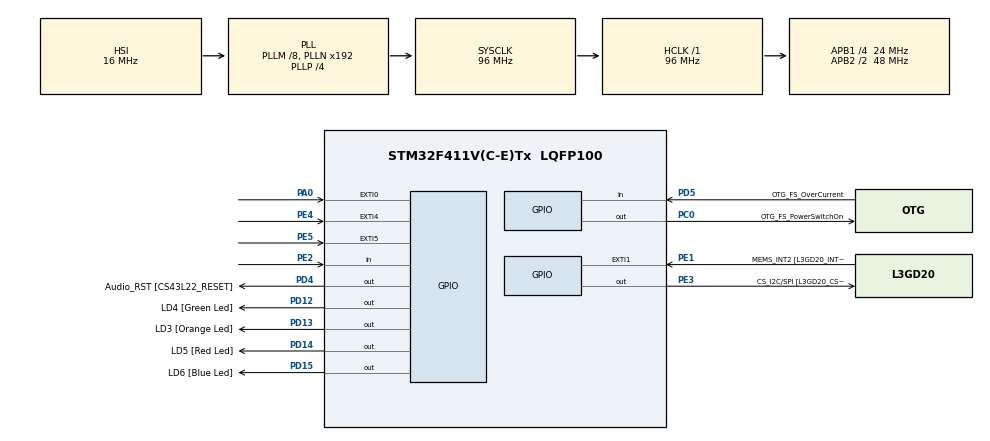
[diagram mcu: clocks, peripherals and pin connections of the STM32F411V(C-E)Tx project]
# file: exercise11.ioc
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FREERTOS.BinarySemaphores01=myBinarySem01,Dynamic,NULL
FREERTOS.Mutexes01=myMutex01,Dynamic,NULL
FREERTOS.Tasks01=RedLED,2,128,StarRedLED,Default,NULL,Dynamic,NULL,NULL;GreenLED,0,128,StartGreenLED,Default,NULL,Dynamic,NULL,NULL;OrangeLED,1,128,StartOrangeLED,Default,NULL,Dynamic,NULL,NULL
Mcu.Family=STM32F4
Mcu.Name=STM32F411V(C-E)Tx
Mcu.Package=LQFP100
NVIC.PriorityGroup=NVIC_PRIORITYGROUP_4
NVIC.TIM1_UP_TIM10_IRQn=true\:0\:0\:false\:false\:true\:false\:false\:true
NVIC.TimeBase=TIM1_UP_TIM10_IRQn
NVIC.TimeBaseIP=TIM1
PA0-WKUP.GPIO_ModeDefaultEXTI=GPIO_MODE_EVT_RISING
PA0-WKUP.Signal=GPXTI0
PA10.GPIO_Label=OTG_FS_ID
PA10.Signal=USB_OTG_FS_ID
PA11.GPIO_Label=OTG_FS_DM
PA11.Signal=USB_OTG_FS_DM
PA12.GPIO_Label=OTG_FS_DP
PA12.Signal=USB_OTG_FS_DP
PA13.GPIO_Label=SWDIO
PA13.Signal=SYS_JTMS-SWDIO
PA14.GPIO_Label=SWCLK
PA14.Signal=SYS_JTCK-SWCLK
PA4.GPIO_Label=I2S3_WS [CS43L22_LRCK]
PA4.GPIO_Mode=GPIO_MODE_AF_PP
PA4.GPIO_PuPd=GPIO_NOPULL
PA4.GPIO_Speed=GPIO_SPEED_FREQ_LOW
PA4.Signal=I2S3_WS
PA5.GPIO_Label=SPI1_SCK [L3GD20_SC/SPC]
PA5.Signal=SPI1_SCK
PA6.GPIO_Label=SPI1_MISO [L3GD20_AS0/SDO]
PA6.Signal=SPI1_MISO
PA7.GPIO_Label=SPI1_MOSI [L3GD20_SDA/SDI/SDO]
PA7.Signal=SPI1_MOSI
PA9.GPIO_Label=VBUS_FS
PA9.Signal=USB_OTG_FS_VBUS
PB10.GPIO_Label=CLK_IN [MP45DT02_CLK]
PB10.Signal=I2S2_CK
PB12.Signal=I2S2_WS
PB3.GPIO_Label=SWO
PB3.Signal=SYS_JTDO-SWO
PB6.GPIO_Label=Audio_SCL [CS43L22_SCL]
PB6.GPIO_Mode=GPIO_MODE_AF_OD
PB6.GPIO_PuPd=GPIO_NOPULL
PB6.GPIO_Speed=GPIO_SPEED_FREQ_LOW
PB6.Signal=I2C1_SCL
PB9.GPIO_Label=Audio_SDA [CS43L22_SDA]
PB9.GPIO_Mode=GPIO_MODE_AF_OD
PB9.GPIO_PuPd=GPIO_NOPULL
PB9.GPIO_Speed=GPIO_SPEED_FREQ_LOW
PB9.Signal=I2C1_SDA
PC0.GPIO_Label=OTG_FS_PowerSwitchOn
PC0.PinState=GPIO_PIN_SET
PC0.Signal=GPIO_Output
PC10.GPIO_Label=I2S3_SCK [CS43L22_SCLK]
PC10.GPIO_Mode=GPIO_MODE_AF_PP
PC10.GPIO_PuPd=GPIO_NOPULL
PC10.GPIO_Speed=GPIO_SPEED_FREQ_LOW
PC10.Signal=I2S3_CK
PC12.GPIO_Label=I2S3_SD [CS43L22_SDIN]
PC12.GPIO_Mode=GPIO_MODE_AF_PP
PC12.GPIO_PuPd=GPIO_NOPULL
PC12.GPIO_Speed=GPIO_SPEED_FREQ_LOW
PC12.Signal=I2S3_SD
PC14-OSC32_IN.GPIO_Label=PC14-OSC32_IN
PC14-OSC32_IN.Signal=RCC_OSC32_IN
PC15-OSC32_OUT.GPIO_Label=PC15-OSC32_OUT
PC15-OSC32_OUT.Signal=RCC_OSC32_OUT
PC3.GPIO_Label=PDM_OUT [MP45DT02_DOUT]
PC3.Signal=I2S2_SD
PC7.GPIO_Label=I2S3_MCK [CS43L22_MCLK]
PC7.GPIO_Mode=GPIO_MODE_AF_PP
PC7.GPIO_PuPd=GPIO_NOPULL
PC7.GPIO_Speed=GPIO_SPEED_FREQ_LOW
PC7.Signal=I2S3_MCK
PD12.GPIO_Label=LD4 [Green Led]
PD12.GPIO_PuPd=GPIO_NOPULL
PD12.GPIO_Speed=GPIO_SPEED_FREQ_LOW
PD12.Signal=GPIO_Output
PD13.GPIO_Label=LD3 [Orange Led]
PD13.GPIO_PuPd=GPIO_NOPULL
PD13.GPIO_Speed=GPIO_SPEED_FREQ_LOW
PD13.Signal=GPIO_Output
PD14.GPIO_Label=LD5 [Red Led]
PD14.GPIO_PuPd=GPIO_NOPULL
PD14.GPIO_Speed=GPIO_SPEED_FREQ_LOW
PD14.Signal=GPIO_Output
PD15.GPIO_Label=LD6 [Blue Led]
PD15.GPIO_PuPd=GPIO_NOPULL
PD15.GPIO_Speed=GPIO_SPEED_FREQ_LOW
PD15.Signal=GPIO_Output
PD4.GPIO_Label=Audio_RST [CS43L22_RESET]
PD4.Signal=GPIO_Output
PD5.GPIO_Label=OTG_FS_OverCurrent
PD5.Signal=GPIO_Input
PE1.GPIO_Label=MEMS_INT2 [L3GD20_INT2]
PE1.GPIO_ModeDefaultEXTI=GPIO_MODE_EVT_RISING
PE1.Signal=GPXTI1
PE2.Signal=GPIO_Input
PE3.GPIO_Label=CS_I2C/SPI [L3GD20_CS_I2C/SPI]
PE3.Signal=GPIO_Output
PE4.GPIO_ModeDefaultEXTI=GPIO_MODE_EVT_RISING
PE4.Signal=GPXTI4
PE5.GPIO_ModeDefaultEXTI=GPIO_MODE_EVT_RISING
PE5.Signal=GPXTI5
PH0\ -\ OSC_IN.GPIO_Label=PH0-OSC_IN
PH0\ -\ OSC_IN.Signal=RCC_OSC_IN
PH1\ -\ OSC_OUT.GPIO_Label=PH1-OSC_OUT
PH1\ -\ OSC_OUT.Signal=RCC_OSC_OUT
ProjectManager.HeapSize=0x200
ProjectManager.StackSize=0x400
ProjectManager.TargetToolchain=STM32CubeIDE
RCC.48MHZClocksFreq_Value=48000000
RCC.AHBFreq_Value=96000000
RCC.APB1CLKDivider=RCC_HCLK_DIV4
RCC.APB1Freq_Value=24000000
RCC.APB1TimFreq_Value=48000000
RCC.APB2CLKDivider=RCC_HCLK_DIV2
RCC.APB2Freq_Value=48000000
RCC.APB2TimFreq_Value=96000000
RCC.CortexFreq_Value=96000000
RCC.HCLKFreq_Value=96000000
RCC.HSE_VALUE=8000000
RCC.HSI_VALUE=16000000
RCC.LSE_VALUE=32768
RCC.PLLI2SM=5
RCC.PLLI2SN=200
RCC.PLLM=8
RCC.PLLP=RCC_PLLP_DIV4
RCC.PLLQ=8
RCC.SYSCLKFreq_VALUE=96000000
RCC.SYSCLKSource=RCC_SYSCLKSOURCE_PLLCLK
RCC.VCOOutputFreq_Value=384000000
VP_FREERTOS_VS_CMSIS_V1.Mode=CMSIS_V1
VP_SYS_VS_tim1.Mode=TIM1
board=STM32F411E-DISCO

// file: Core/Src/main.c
/* USER CODE BEGIN Header */
/**
  ******************************************************************************
  * @file           : main.c
  * @brief          : Main program body
  ******************************************************************************
  * @attention
  *
  * <h2><center>&copy; Copyright (c) 2021 STMicroelectronics.
  * All rights reserved.</center></h2>
  *
  * This software component is licensed by ST under BSD 3-Clause license,
  * the "License"; You may not use this file except in compliance with the
  * License. You may obtain a copy of the License at:
  *                        opensource.org/licenses/BSD-3-Clause
  *
  ******************************************************************************
  */
/* USER CODE END Header */

#include "main.h"
#include "cmsis_os.h"

osThreadId RedLEDHandle;
osThreadId GreenLEDHandle;
osThreadId OrangeLEDHandle;
osMutexId myMutex01Handle;
osSemaphoreId myBinarySem01Handle;

void SystemClock_Config(void);
static void MX_GPIO_Init(void);
void StarRedLED(void const * argument);
void StartGreenLED(void const * argument);
void StartOrangeLED(void const * argument);

int main(void)
{

  /* MCU Configuration--------------------------------------------------------*/

  /* Reset of all peripherals, Initializes the Flash interface and the Systick. */
  HAL_Init();

  /* Configure the system clock */
  SystemClock_Config();

  /* Initialize all configured peripherals */
  MX_GPIO_Init();

  /* Create the mutex(es) */
  /* definition and creation of myMutex01 */
  osMutexDef(myMutex01);
  myMutex01Handle = osMutexCreate(osMutex(myMutex01));

  /* Create the semaphores(s) */
  /* definition and creation of myBinarySem01 */
  osSemaphoreDef(myBinarySem01);
  myBinarySem01Handle = osSemaphoreCreate(osSemaphore(myBinarySem01), 1);

  /* Create the thread(s) */
  /* definition and creation of RedLED */
  osThreadDef(RedLED, StarRedLED, osPriorityHigh, 0, 128);
  RedLEDHandle = osThreadCreate(osThread(RedLED), NULL);

  /* definition and creation of GreenLED */
  osThreadDef(GreenLED, StartGreenLED, osPriorityNormal, 0, 128);
  GreenLEDHandle = osThreadCreate(osThread(GreenLED), NULL);

  /* definition and creation of OrangeLED */
  osThreadDef(OrangeLED, StartOrangeLED, osPriorityAboveNormal, 0, 128);
  OrangeLEDHandle = osThreadCreate(osThread(OrangeLED), NULL);

  /* Start scheduler */
  osKernelStart();

  /* We should never get here as control is now taken by the scheduler */

  /* Infinite loop */
  while (1)
  {

  }
}

void SystemClock_Config(void)
{
  RCC_OscInitTypeDef RCC_OscInitStruct = {0};
  RCC_ClkInitTypeDef RCC_ClkInitStruct = {0};

  /** Configure the main internal regulator output voltage
  */
  __HAL_RCC_PWR_CLK_ENABLE();
  __HAL_PWR_VOLTAGESCALING_CONFIG(PWR_REGULATOR_VOLTAGE_SCALE1);
  /** Initializes the CPU, AHB and APB busses clocks
  */
  RCC_OscInitStruct.OscillatorType = RCC_OSCILLATORTYPE_HSI;
  RCC_OscInitStruct.HSIState = RCC_HSI_ON;
  RCC_OscInitStruct.HSICalibrationValue = RCC_HSICALIBRATION_DEFAULT;
  RCC_OscInitStruct.PLL.PLLState = RCC_PLL_ON;
  RCC_OscInitStruct.PLL.PLLSource = RCC_PLLSOURCE_HSI;
  RCC_OscInitStruct.PLL.PLLM = 8;
  RCC_OscInitStruct.PLL.PLLN = 192;
  RCC_OscInitStruct.PLL.PLLP = RCC_PLLP_DIV4;
  RCC_OscInitStruct.PLL.PLLQ = 8;
  if (HAL_RCC_OscConfig(&RCC_OscInitStruct) != HAL_OK)
  {
    Error_Handler();
  }
  /** Initializes the CPU, AHB and APB busses clocks
  */
  RCC_ClkInitStruct.ClockType = RCC_CLOCKTYPE_HCLK|RCC_CLOCKTYPE_SYSCLK
                              |RCC_CLOCKTYPE_PCLK1|RCC_CLOCKTYPE_PCLK2;
  RCC_ClkInitStruct.SYSCLKSource = RCC_SYSCLKSOURCE_PLLCLK;
  RCC_ClkInitStruct.AHBCLKDivider = RCC_SYSCLK_DIV1;
  RCC_ClkInitStruct.APB1CLKDivider = RCC_HCLK_DIV4;
  RCC_ClkInitStruct.APB2CLKDivider = RCC_HCLK_DIV2;

  if (HAL_RCC_ClockConfig(&RCC_ClkInitStruct, FLASH_LATENCY_3) != HAL_OK)
  {
    Error_Handler();
  }
}

static void MX_GPIO_Init(void)
{
  GPIO_InitTypeDef GPIO_InitStruct = {0};

  /* GPIO Ports Clock Enable */
  __HAL_RCC_GPIOE_CLK_ENABLE();
  __HAL_RCC_GPIOC_CLK_ENABLE();
  __HAL_RCC_GPIOH_CLK_ENABLE();
  __HAL_RCC_GPIOA_CLK_ENABLE();
  __HAL_RCC_GPIOB_CLK_ENABLE();
  __HAL_RCC_GPIOD_CLK_ENABLE();

  /*Configure GPIO pin Output Level */
  HAL_GPIO_WritePin(CS_I2C_SPI_GPIO_Port, CS_I2C_SPI_Pin, GPIO_PIN_RESET);

  /*Configure GPIO pin Output Level */
  HAL_GPIO_WritePin(OTG_FS_PowerSwitchOn_GPIO_Port, OTG_FS_PowerSwitchOn_Pin, GPIO_PIN_SET);

  /*Configure GPIO pin Output Level */
  HAL_GPIO_WritePin(GPIOD, LD4_Pin|LD3_Pin|LD5_Pin|LD6_Pin
                          |Audio_RST_Pin, GPIO_PIN_RESET);

  /*Configure GPIO pin : PE2 */
  GPIO_InitStruct.Pin = GPIO_PIN_2;
  GPIO_InitStruct.Mode = GPIO_MODE_INPUT;
  GPIO_InitStruct.Pull = GPIO_NOPULL;
  HAL_GPIO_Init(GPIOE, &GPIO_InitStruct);

  /*Configure GPIO pin : CS_I2C_SPI_Pin */
  GPIO_InitStruct.Pin = CS_I2C_SPI_Pin;
  GPIO_InitStruct.Mode = GPIO_MODE_OUTPUT_PP;
  GPIO_InitStruct.Pull = GPIO_NOPULL;
  GPIO_InitStruct.Speed = GPIO_SPEED_FREQ_LOW;
  HAL_GPIO_Init(CS_I2C_SPI_GPIO_Port, &GPIO_InitStruct);

  /*Configure GPIO pins : PE4 PE5 MEMS_INT2_Pin */
  GPIO_InitStruct.Pin = GPIO_PIN_4|GPIO_PIN_5|MEMS_INT2_Pin;
  GPIO_InitStruct.Mode = GPIO_MODE_EVT_RISING;
  GPIO_InitStruct.Pull = GPIO_NOPULL;
  HAL_GPIO_Init(GPIOE, &GPIO_InitStruct);

  /*Configure GPIO pin : OTG_FS_PowerSwitchOn_Pin */
  GPIO_InitStruct.Pin = OTG_FS_PowerSwitchOn_Pin;
  GPIO_InitStruct.Mode = GPIO_MODE_OUTPUT_PP;
  GPIO_InitStruct.Pull = GPIO_NOPULL;
  GPIO_InitStruct.Speed = GPIO_SPEED_FREQ_LOW;
  HAL_GPIO_Init(OTG_FS_PowerSwitchOn_GPIO_Port, &GPIO_InitStruct);

  /*Configure GPIO pin : PDM_OUT_Pin */
  GPIO_InitStruct.Pin = PDM_OUT_Pin;
  GPIO_InitStruct.Mode = GPIO_MODE_AF_PP;
  GPIO_InitStruct.Pull = GPIO_NOPULL;
  GPIO_InitStruct.Speed = GPIO_SPEED_FREQ_LOW;
  GPIO_InitStruct.Alternate = GPIO_AF5_SPI2;
  HAL_GPIO_Init(PDM_OUT_GPIO_Port, &GPIO_InitStruct);

  /*Configure GPIO pin : PA0 */
  GPIO_InitStruct.Pin = GPIO_PIN_0;
  GPIO_InitStruct.Mode = GPIO_MODE_EVT_RISING;
  GPIO_InitStruct.Pull = GPIO_NOPULL;
  HAL_GPIO_Init(GPIOA, &GPIO_InitStruct);

  /*Configure GPIO pin : I2S3_WS_Pin */
  GPIO_InitStruct.Pin = I2S3_WS_Pin;
  GPIO_InitStruct.Mode = GPIO_MODE_AF_PP;
  GPIO_InitStruct.Pull = GPIO_NOPULL;
  GPIO_InitStruct.Speed = GPIO_SPEED_FREQ_LOW;
  GPIO_InitStruct.Alternate = GPIO_AF6_SPI3;
  HAL_GPIO_Init(I2S3_WS_GPIO_Port, &GPIO_InitStruct);

  /*Configure GPIO pins : SPI1_SCK_Pin SPI1_MISO_Pin SPI1_MOSI_Pin */
  GPIO_InitStruct.Pin = SPI1_SCK_Pin|SPI1_MISO_Pin|SPI1_MOSI_Pin;
  GPIO_InitStruct.Mode = GPIO_MODE_AF_PP;
  GPIO_InitStruct.Pull = GPIO_NOPULL;
  GPIO_InitStruct.Speed = GPIO_SPEED_FREQ_VERY_HIGH;
  GPIO_InitStruct.Alternate = GPIO_AF5_SPI1;
  HAL_GPIO_Init(GPIOA, &GPIO_InitStruct);

  /*Configure GPIO pins : CLK_IN_Pin PB12 */
  GPIO_InitStruct.Pin = CLK_IN_Pin|GPIO_PIN_12;
  GPIO_InitStruct.Mode = GPIO_MODE_AF_PP;
  GPIO_InitStruct.Pull = GPIO_NOPULL;
  GPIO_InitStruct.Speed = GPIO_SPEED_FREQ_LOW;
  GPIO_InitStruct.Alternate = GPIO_AF5_SPI2;
  HAL_GPIO_Init(GPIOB, &GPIO_InitStruct);

  /*Configure GPIO pins : LD4_Pin LD3_Pin LD5_Pin LD6_Pin
                           Audio_RST_Pin */
  GPIO_InitStruct.Pin = LD4_Pin|LD3_Pin|LD5_Pin|LD6_Pin
                          |Audio_RST_Pin;
  GPIO_InitStruct.Mode = GPIO_MODE_OUTPUT_PP;
  GPIO_InitStruct.Pull = GPIO_NOPULL;
  GPIO_InitStruct.Speed = GPIO_SPEED_FREQ_LOW;
  HAL_GPIO_Init(GPIOD, &GPIO_InitStruct);

  /*Configure GPIO pins : I2S3_MCK_Pin I2S3_SCK_Pin I2S3_SD_Pin */
  GPIO_InitStruct.Pin = I2S3_MCK_Pin|I2S3_SCK_Pin|I2S3_SD_Pin;
  GPIO_InitStruct.Mode = GPIO_MODE_AF_PP;
  GPIO_InitStruct.Pull = GPIO_NOPULL;
  GPIO_InitStruct.Speed = GPIO_SPEED_FREQ_LOW;
  GPIO_InitStruct.Alternate = GPIO_AF6_SPI3;
  HAL_GPIO_Init(GPIOC, &GPIO_InitStruct);

  /*Configure GPIO pin : VBUS_FS_Pin */
  GPIO_InitStruct.Pin = VBUS_FS_Pin;
  GPIO_InitStruct.Mode = GPIO_MODE_INPUT;
  GPIO_InitStruct.Pull = GPIO_NOPULL;
  HAL_GPIO_Init(VBUS_FS_GPIO_Port, &GPIO_InitStruct);

  /*Configure GPIO pins : OTG_FS_ID_Pin OTG_FS_DM_Pin OTG_FS_DP_Pin */
  GPIO_InitStruct.Pin = OTG_FS_ID_Pin|OTG_FS_DM_Pin|OTG_FS_DP_Pin;
  GPIO_InitStruct.Mode = GPIO_MODE_AF_PP;
  GPIO_InitStruct.Pull = GPIO_NOPULL;
  GPIO_InitStruct.Speed = GPIO_SPEED_FREQ_VERY_HIGH;
  GPIO_InitStruct.Alternate = GPIO_AF10_OTG_FS;
  HAL_GPIO_Init(GPIOA, &GPIO_InitStruct);

  /*Configure GPIO pin : OTG_FS_OverCurrent_Pin */
  GPIO_InitStruct.Pin = OTG_FS_OverCurrent_Pin;
  GPIO_InitStruct.Mode = GPIO_MODE_INPUT;
  GPIO_InitStruct.Pull = GPIO_NOPULL;
  HAL_GPIO_Init(OTG_FS_OverCurrent_GPIO_Port, &GPIO_InitStruct);

  /*Configure GPIO pins : Audio_SCL_Pin Audio_SDA_Pin */
  GPIO_InitStruct.Pin = Audio_SCL_Pin|Audio_SDA_Pin;
  GPIO_InitStruct.Mode = GPIO_MODE_AF_OD;
  GPIO_InitStruct.Pull = GPIO_PULLUP;
  GPIO_InitStruct.Speed = GPIO_SPEED_FREQ_LOW;
  GPIO_InitStruct.Alternate = GPIO_AF4_I2C1;
  HAL_GPIO_Init(GPIOB, &GPIO_InitStruct);

}

/* USER CODE BEGIN 4 */
//int startFlag = 1;

void Access(){
	//osSemaphoreWait(myBinarySem01Handle, osWaitForever);
	osMutexWait(myMutex01Handle, osWaitForever);
	for(int i = 0; i < 20; i++){
		HAL_GPIO_TogglePin(GPIOD, GPIO_PIN_15);
		for(int ii = 0; ii < 800000; ii++);
	}
	//osSemaphoreRelease(myBinarySem01Handle);
	osMutexRelease(myMutex01Handle);
}
/* USER CODE END 4 */

void StarRedLED(void const * argument)
{
  /* USER CODE BEGIN 5 */
  /* Infinite loop */
	for(;;)
	{
      osDelay(1000);
	  Access();
	  for(int i = 0; i < 40; i++){
		 HAL_GPIO_TogglePin(GPIOD, GPIO_PIN_14);
		 for(int ii = 0; ii < 800000; ii++);
	  }
	  vTaskSuspend(NULL);
	}
  /* USER CODE END 5 */
}

void StartGreenLED(void const * argument)
{
  /* USER CODE BEGIN StartGreenLED */
  /* Infinite loop */
  for(;;)
  {
	    Access();
		for(int i = 0; i < 40; i++){
			HAL_GPIO_TogglePin(GPIOD, GPIO_PIN_12);
			for(int ii = 0; ii < 800000; ii++);
		}
		vTaskSuspend(NULL);
  }
  /* USER CODE END StartGreenLED */
}

void StartOrangeLED(void const * argument)
{
  /* USER CODE BEGIN StartOrangeLED */
  for(;;)
  {
	osDelay(1000);
	for(int i = 0; i < 40; i++){
		HAL_GPIO_TogglePin(GPIOD, GPIO_PIN_13);
		for(int ii = 0; ii < 800000; ii++);
	}
	vTaskSuspend(NULL);
  }
  /* USER CODE END StartOrangeLED */
}

void HAL_TIM_PeriodElapsedCallback(TIM_HandleTypeDef *htim)
{
  if (htim->Instance == TIM1) {
    HAL_IncTick();
  }
}

void Error_Handler(void)
{
}

/************************ (C) COPYRIGHT STMicroelectronics *****END OF FILE****/
